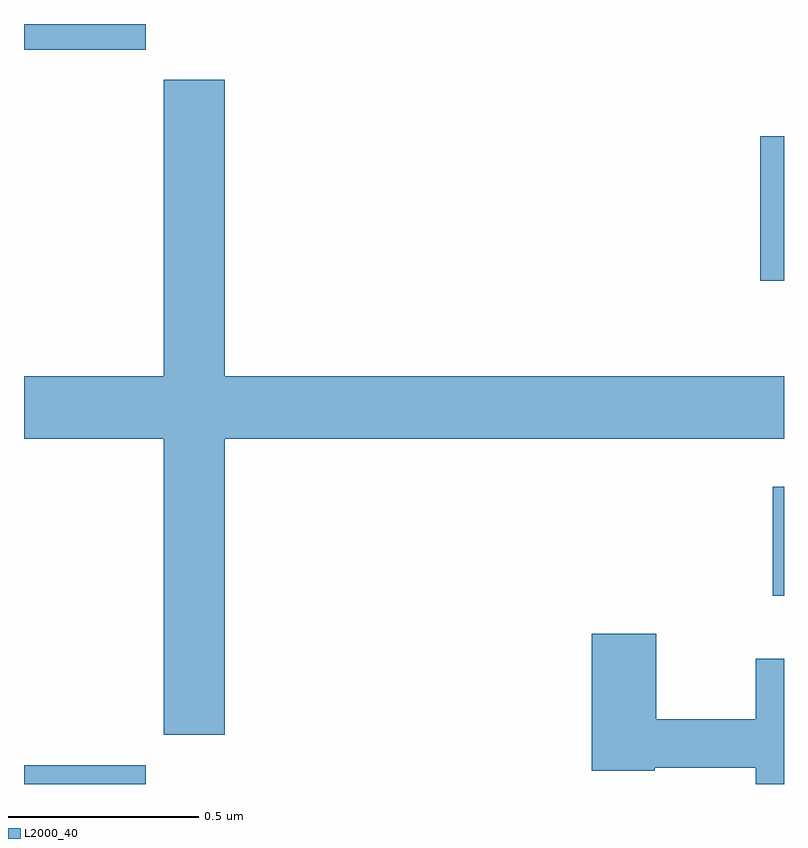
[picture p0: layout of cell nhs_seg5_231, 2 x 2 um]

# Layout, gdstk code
import gdstk
lib = gdstk.Library(unit=1e-6, precision=1e-09)
def R(c, l, rs):  # rectangles x0, y0, x1, y1
    for r in rs: c.add(gdstk.rectangle(r[:2], r[2:], *l))
def P(c, l, *ps):  # polygons
    for p in ps: c.add(gdstk.Polygon(p, *l))
L2000_40 = (2000, 40)

nhs_seg5_231 = lib.new_cell('nhs_seg5_231')
R(nhs_seg5_231, L2000_40, [(113,907.799,113.32,907.849), (114.971,908.294,115,908.581), (114.938,909.123,115,909.504), (113,909.731,113.32,909.799)])
P(nhs_seg5_231, L2000_40, [(113.528,908.708),(115,908.708),(115,908.872),(113.528,908.872),(113.528,909.652),(113.368,909.652),(113.368,908.872),(113,908.872),(113,908.708),(113.368,908.708),(113.368,907.929),(113.528,907.929)],
  [(115,908.128),(114.926,908.128),(114.926,907.97),(114.664,907.97),(114.664,908.194),(114.494,908.194),(114.494,907.834),(114.66,907.834),(114.66,907.842),(114.926,907.842),(114.926,907.799),(115,907.799)])

lib.write_gds('nhs_seg5_231.gds')
